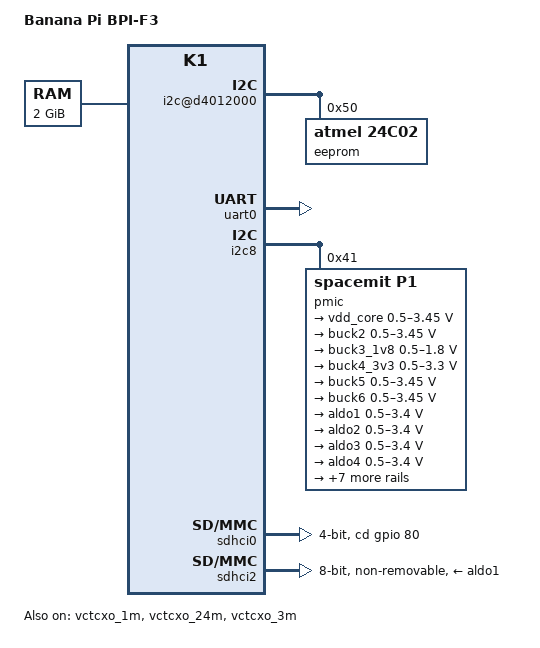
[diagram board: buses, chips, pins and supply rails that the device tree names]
// SPDX-License-Identifier: GPL-2.0-or-later OR MIT
/*
 * Copyright (C) 2024 Yangyu Chen <cyy@cyyself.name>
 */

#include "k1.dtsi"
#include "binman.dtsi"
#include "k1_pinctrl.dtsi"

/ {
	model = "Banana Pi BPI-F3";
	compatible = "bananapi,bpi-f3", "spacemit,k1";

	aliases {
		console = &uart0;
		serial0 = &uart0;
	};

	chosen {
		stdout-path = "serial0:115200n8";
	};

	memory@0 {
		device_type = "memory";
		reg = <0x00000000 0x00000000 0x00000000 0x80000000>;
	};
};

&vctcxo_1m {
	status = "okay";
};

&vctcxo_24m {
	status = "okay";
};

&vctcxo_3m {
	status = "okay";
};

&osc_32k {
	status = "okay";
};

&soc {
	clock-controller@d4090000 {
		status = "okay";
		bootph-all;
	};
	system-controller@d4050000 {
		status = "okay";
		bootph-all;
	};
	system-controller@d4282800 {
		status = "okay";
		bootph-all;
	};
	system-controller@d4015000 {
		status = "okay";
	};

	i2c@d4012000 {		/* i2c2 */
		status = "okay";
		eeprom: eeprom {
			compatible = "atmel,24c02";
			reg = <0x50>;
			status = "okay";
		};
	};

	reset-controller@d4050000 {
		status = "okay";
	};
};

&uart0 {
	status = "okay";
	pinctrl-names = "default";
	pinctrl-0 = <&uart0_2_cfg>;
};

&i2c8 {
	status = "okay";
	pmic@41 {
		compatible = "spacemit,p1";
		reg = <0x41>;
		status = "okay";

		regulators {
			buck1 {
				regulator-name = "vdd_core";
				regulator-min-microvolt = <500000>;
				regulator-max-microvolt = <3450000>;
				regulator-ramp-delay = <5000>;
				regulator-always-on;
			};

			buck2 {
				regulator-min-microvolt = <500000>;
				regulator-max-microvolt = <3450000>;
				regulator-ramp-delay = <5000>;
				regulator-always-on;
			};

			buck3_1v8: buck3 {
				regulator-name = "vdd_1v8";
				regulator-min-microvolt = <500000>;
				regulator-max-microvolt = <1800000>;
				regulator-ramp-delay = <5000>;
				regulator-always-on;
			};

			buck4_3v3: buck4 {
				regulator-min-microvolt = <500000>;
				regulator-max-microvolt = <3300000>;
				regulator-ramp-delay = <5000>;
				regulator-always-on;
			};

			buck5 {
				regulator-min-microvolt = <500000>;
				regulator-max-microvolt = <3450000>;
				regulator-ramp-delay = <5000>;
				regulator-always-on;
			};

			buck6 {
				regulator-min-microvolt = <500000>;
				regulator-max-microvolt = <3450000>;
				regulator-ramp-delay = <5000>;
				regulator-always-on;
			};

			aldo1: aldo1 {
				regulator-name = "vdd_1v8_mmc";
				regulator-min-microvolt = <500000>;
				regulator-max-microvolt = <3400000>;
				regulator-boot-on;
			};

			aldo2 {
				regulator-min-microvolt = <500000>;
				regulator-max-microvolt = <3400000>;
			};

			aldo3 {
				regulator-min-microvolt = <500000>;
				regulator-max-microvolt = <3400000>;
			};

			aldo4 {
				regulator-min-microvolt = <500000>;
				regulator-max-microvolt = <3400000>;
			};

			dldo1 {
				regulator-min-microvolt = <500000>;
				regulator-max-microvolt = <3400000>;
			};

			dldo2 {
				regulator-min-microvolt = <500000>;
				regulator-max-microvolt = <3400000>;
			};

			dldo3 {
				regulator-min-microvolt = <500000>;
				regulator-max-microvolt = <3400000>;
			};

			dldo4 {
				regulator-min-microvolt = <500000>;
				regulator-max-microvolt = <3400000>;
			};

			dldo5 {
				regulator-min-microvolt = <500000>;
				regulator-max-microvolt = <3400000>;
			};

			dldo6 {
				regulator-min-microvolt = <500000>;
				regulator-max-microvolt = <3400000>;
			};

			dldo7 {
				regulator-min-microvolt = <500000>;
				regulator-max-microvolt = <3400000>;
			};
		};
	};
};

&sdhci0 {
	bus-width = <4>;
	max-frequency = <204800000>;
	cd-gpios = <&gpio 80 0>;
	vqmmc-supply = <&buck4_3v3>;
	pinctrl-names = "default", "fast";
	pinctrl-0 = <&sdhci0_0_cfg>;
	pinctrl-1 = <&sdhci0_1_cfg>;
	status = "okay";
};

&sdhci2 {
	bus-width = <8>;
	mmc-hs400-1_8v;
	mmc-hs400-enhanced-strobe;
	max-frequency = <375000000>;
	non-removable;
	no-sd;
	no-sdio;
	vqmmc-supply = <&buck3_1v8>;
	vmmc-supply = <&aldo1>;
	status = "okay";
};
